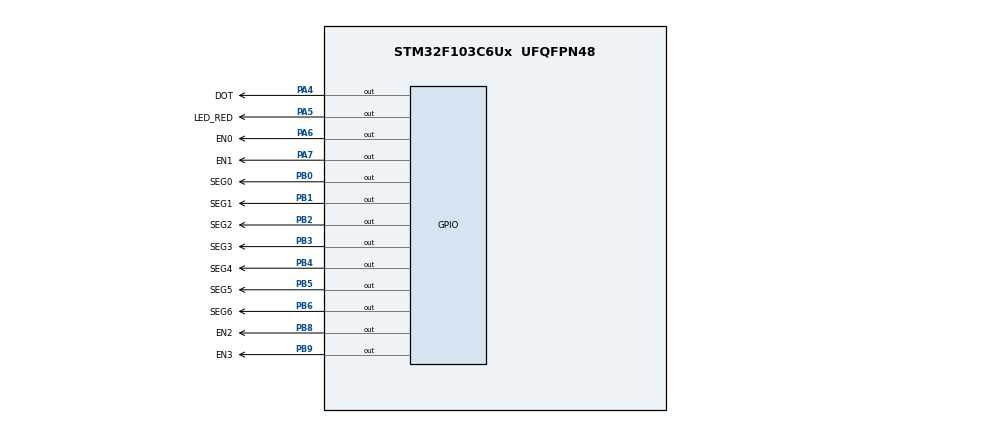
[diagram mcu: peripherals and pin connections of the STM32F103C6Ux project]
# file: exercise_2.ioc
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Mcu.Family=STM32F1
Mcu.Name=STM32F103C6Ux
Mcu.Package=UFQFPN48
NVIC.PriorityGroup=NVIC_PRIORITYGROUP_4
NVIC.TIM2_IRQn=true\:0\:0\:false\:false\:true\:true\:true
PA4.GPIO_Label=DOT
PA4.Signal=GPIO_Output
PA5.GPIO_Label=LED_RED
PA5.Signal=GPIO_Output
PA6.GPIO_Label=EN0
PA6.Signal=GPIO_Output
PA7.GPIO_Label=EN1
PA7.Signal=GPIO_Output
PB0.GPIO_Label=SEG0
PB0.Signal=GPIO_Output
PB1.GPIO_Label=SEG1
PB1.Signal=GPIO_Output
PB2.GPIO_Label=SEG2
PB2.Signal=GPIO_Output
PB3.GPIO_Label=SEG3
PB3.Signal=GPIO_Output
PB4.GPIO_Label=SEG4
PB4.Signal=GPIO_Output
PB5.GPIO_Label=SEG5
PB5.Signal=GPIO_Output
PB6.GPIO_Label=SEG6
PB6.Signal=GPIO_Output
PB8.GPIO_Label=EN2
PB8.Signal=GPIO_Output
PB9.GPIO_Label=EN3
PB9.Signal=GPIO_Output
ProjectManager.HeapSize=0x200
ProjectManager.StackSize=0x400
ProjectManager.TargetToolchain=STM32CubeIDE
RCC.APB1Freq_Value=8000000
RCC.APB2Freq_Value=8000000
TIM2.Period=9
TIM2.Prescaler=7999
VP_SYS_VS_ND.Mode=No_Debug
VP_TIM2_VS_ClockSourceINT.Mode=Internal
board=custom

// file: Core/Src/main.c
/* USER CODE BEGIN Header */
/**
  ******************************************************************************
  * @file           : main.c
  * @brief          : Main program body
  ******************************************************************************
  * @attention
  *
  * <h2><center>&copy; Copyright (c) 2025 STMicroelectronics.
  * All rights reserved.</center></h2>
  *
  * This software component is licensed by ST under BSD 3-Clause license,
  * the "License"; You may not use this file except in compliance with the
  * License. You may obtain a copy of the License at:
  *                        opensource.org/licenses/BSD-3-Clause
  *
  ******************************************************************************
  */
/* USER CODE END Header */
#include "main.h"

/* USER CODE BEGIN Includes */
#include "software_timer.h"
/* USER CODE END Includes */

TIM_HandleTypeDef htim2;

/* USER CODE BEGIN PV */
uint8_t led7seg_num_display[] = {
		/*0*/ 0x40,/*0b1000000*/
		/*1*/ 0x79,/*0b11111001*/
		/*2*/ 0x24,/*0b0100100*/
		/*3*/ 0x30,/*0b0110000*/
		/*4*/ 0x19,/*0b0011001*/
		/*5*/ 0x12,/*0b0010010*/
		/*6*/ 0x02,/*0b0000010*/
		/*7*/ 0x78,/*0b1111000*/
		/*8*/ 0x00,/*0b0000000*/
		/*9*/ 0x10/*0b0010000*/
};
int led_enable = 0;
/* USER CODE END PV */

void SystemClock_Config(void);
static void MX_TIM2_Init(void);
static void MX_GPIO_Init(void);
void display7SEG(uint8_t num);

int main(void)
{

  /* MCU Configuration--------------------------------------------------------*/

  /* Reset of all peripherals, Initializes the Flash interface and the Systick. */
  HAL_Init();

  /* Configure the system clock */
  SystemClock_Config();

  /* Initialize all configured peripherals */
  MX_TIM2_Init();
  MX_GPIO_Init();
  /* USER CODE BEGIN 2 */
  HAL_TIM_Base_Start_IT(&htim2);
  /* USER CODE END 2 */

  /* Infinite loop */
  /* USER CODE BEGIN WHILE */
  setTimer(0, 100); //LED_RED
  setTimer(1, 50); //7_SEG
  setTimer(2, 100); //2 LED
  while (1)
  {
	  if (isExpired(0) == 1){
		  setTimer(0, 100);
		  HAL_GPIO_TogglePin(LED_RED_GPIO_Port,LED_RED_Pin);
	  }
	  if (isExpired(1) == 1){
		  setTimer(1,  50);
		  led_enable = (led_enable + 1) % 4;
	  }
	  if (isExpired(2) == 1){
		  setTimer(2, 100);
		  HAL_GPIO_TogglePin(DOT_GPIO_Port,DOT_Pin);
	  }
	  if (led_enable == 0){
		  display7SEG(1);
		  HAL_GPIO_WritePin(EN0_GPIO_Port, EN0_Pin, GPIO_PIN_RESET);
		  HAL_GPIO_WritePin(EN1_GPIO_Port, EN1_Pin, GPIO_PIN_SET);
		  HAL_GPIO_WritePin(EN2_GPIO_Port, EN2_Pin, GPIO_PIN_SET);
		  HAL_GPIO_WritePin(EN3_GPIO_Port, EN3_Pin, GPIO_PIN_SET);
	  }else if (led_enable == 1){
		  display7SEG(2);
		  HAL_GPIO_WritePin(EN0_GPIO_Port, EN0_Pin, GPIO_PIN_SET);
		  HAL_GPIO_WritePin(EN1_GPIO_Port, EN1_Pin, GPIO_PIN_RESET);
		  HAL_GPIO_WritePin(EN2_GPIO_Port, EN2_Pin, GPIO_PIN_SET);
		  HAL_GPIO_WritePin(EN3_GPIO_Port, EN3_Pin, GPIO_PIN_SET);
	  }else if (led_enable == 2){
		  display7SEG(3);
		  HAL_GPIO_WritePin(EN0_GPIO_Port, EN0_Pin, GPIO_PIN_SET);
		  HAL_GPIO_WritePin(EN1_GPIO_Port, EN1_Pin, GPIO_PIN_SET);
		  HAL_GPIO_WritePin(EN2_GPIO_Port, EN2_Pin, GPIO_PIN_RESET);
		  HAL_GPIO_WritePin(EN3_GPIO_Port, EN3_Pin, GPIO_PIN_SET);
	  }else{
		  display7SEG(0);
		  HAL_GPIO_WritePin(EN0_GPIO_Port, EN0_Pin, GPIO_PIN_SET);
		  HAL_GPIO_WritePin(EN1_GPIO_Port, EN1_Pin, GPIO_PIN_SET);
		  HAL_GPIO_WritePin(EN2_GPIO_Port, EN2_Pin, GPIO_PIN_SET);
		  HAL_GPIO_WritePin(EN3_GPIO_Port, EN3_Pin, GPIO_PIN_RESET);
	  }
    /* USER CODE END WHILE */

  }
}

void SystemClock_Config(void)
{
  RCC_OscInitTypeDef RCC_OscInitStruct = {0};
  RCC_ClkInitTypeDef RCC_ClkInitStruct = {0};

  /** Initializes the RCC Oscillators according to the specified parameters
  * in the RCC_OscInitTypeDef structure.
  */
  RCC_OscInitStruct.OscillatorType = RCC_OSCILLATORTYPE_HSI;
  RCC_OscInitStruct.HSIState = RCC_HSI_ON;
  RCC_OscInitStruct.HSICalibrationValue = RCC_HSICALIBRATION_DEFAULT;
  RCC_OscInitStruct.PLL.PLLState = RCC_PLL_NONE;
  if (HAL_RCC_OscConfig(&RCC_OscInitStruct) != HAL_OK)
  {
    Error_Handler();
  }
  /** Initializes the CPU, AHB and APB buses clocks
  */
  RCC_ClkInitStruct.ClockType = RCC_CLOCKTYPE_HCLK|RCC_CLOCKTYPE_SYSCLK
                              |RCC_CLOCKTYPE_PCLK1|RCC_CLOCKTYPE_PCLK2;
  RCC_ClkInitStruct.SYSCLKSource = RCC_SYSCLKSOURCE_HSI;
  RCC_ClkInitStruct.AHBCLKDivider = RCC_SYSCLK_DIV1;
  RCC_ClkInitStruct.APB1CLKDivider = RCC_HCLK_DIV1;
  RCC_ClkInitStruct.APB2CLKDivider = RCC_HCLK_DIV1;

  if (HAL_RCC_ClockConfig(&RCC_ClkInitStruct, FLASH_LATENCY_0) != HAL_OK)
  {
    Error_Handler();
  }
}

static void MX_TIM2_Init(void)
{

  TIM_ClockConfigTypeDef sClockSourceConfig = {0};
  TIM_MasterConfigTypeDef sMasterConfig = {0};

  htim2.Instance = TIM2;
  htim2.Init.Prescaler = 7999;
  htim2.Init.CounterMode = TIM_COUNTERMODE_UP;
  htim2.Init.Period = 9;
  htim2.Init.ClockDivision = TIM_CLOCKDIVISION_DIV1;
  htim2.Init.AutoReloadPreload = TIM_AUTORELOAD_PRELOAD_DISABLE;
  if (HAL_TIM_Base_Init(&htim2) != HAL_OK)
  {
    Error_Handler();
  }
  sClockSourceConfig.ClockSource = TIM_CLOCKSOURCE_INTERNAL;
  if (HAL_TIM_ConfigClockSource(&htim2, &sClockSourceConfig) != HAL_OK)
  {
    Error_Handler();
  }
  sMasterConfig.MasterOutputTrigger = TIM_TRGO_RESET;
  sMasterConfig.MasterSlaveMode = TIM_MASTERSLAVEMODE_DISABLE;
  if (HAL_TIMEx_MasterConfigSynchronization(&htim2, &sMasterConfig) != HAL_OK)
  {
    Error_Handler();
  }

}

static void MX_GPIO_Init(void)
{
  GPIO_InitTypeDef GPIO_InitStruct = {0};

  /* GPIO Ports Clock Enable */
  __HAL_RCC_GPIOA_CLK_ENABLE();
  __HAL_RCC_GPIOB_CLK_ENABLE();

  /*Configure GPIO pin Output Level */
  HAL_GPIO_WritePin(GPIOA, DOT_Pin|LED_RED_Pin|EN0_Pin|EN1_Pin, GPIO_PIN_RESET);

  /*Configure GPIO pin Output Level */
  HAL_GPIO_WritePin(GPIOB, SEG0_Pin|SEG1_Pin|SEG2_Pin|SEG3_Pin
                          |SEG4_Pin|SEG5_Pin|SEG6_Pin|EN2_Pin
                          |EN3_Pin, GPIO_PIN_RESET);

  /*Configure GPIO pins : DOT_Pin LED_RED_Pin EN0_Pin EN1_Pin */
  GPIO_InitStruct.Pin = DOT_Pin|LED_RED_Pin|EN0_Pin|EN1_Pin;
  GPIO_InitStruct.Mode = GPIO_MODE_OUTPUT_PP;
  GPIO_InitStruct.Pull = GPIO_NOPULL;
  GPIO_InitStruct.Speed = GPIO_SPEED_FREQ_LOW;
  HAL_GPIO_Init(GPIOA, &GPIO_InitStruct);

  /*Configure GPIO pins : SEG0_Pin SEG1_Pin SEG2_Pin SEG3_Pin
                           SEG4_Pin SEG5_Pin SEG6_Pin EN2_Pin
                           EN3_Pin */
  GPIO_InitStruct.Pin = SEG0_Pin|SEG1_Pin|SEG2_Pin|SEG3_Pin
                          |SEG4_Pin|SEG5_Pin|SEG6_Pin|EN2_Pin
                          |EN3_Pin;
  GPIO_InitStruct.Mode = GPIO_MODE_OUTPUT_PP;
  GPIO_InitStruct.Pull = GPIO_NOPULL;
  GPIO_InitStruct.Speed = GPIO_SPEED_FREQ_LOW;
  HAL_GPIO_Init(GPIOB, &GPIO_InitStruct);

}

/* USER CODE BEGIN 4 */
void HAL_TIM_PeriodElapsedCallback(TIM_HandleTypeDef *htim){
	timerRun();
}

void display7SEG(uint8_t num){
	HAL_GPIO_WritePin(SEG0_GPIO_Port, SEG0_Pin, !((~led7seg_num_display[num]) & (1 << 0)));
	HAL_GPIO_WritePin(SEG1_GPIO_Port, SEG1_Pin, !((~led7seg_num_display[num]) & (1 << 1)));
	HAL_GPIO_WritePin(SEG2_GPIO_Port, SEG2_Pin, !((~led7seg_num_display[num]) & (1 << 2)));
	HAL_GPIO_WritePin(SEG3_GPIO_Port, SEG3_Pin, !((~led7seg_num_display[num]) & (1 << 3)));
	HAL_GPIO_WritePin(SEG4_GPIO_Port, SEG4_Pin, !((~led7seg_num_display[num]) & (1 << 4)));
	HAL_GPIO_WritePin(SEG5_GPIO_Port, SEG5_Pin, !((~led7seg_num_display[num]) & (1 << 5)));
	HAL_GPIO_WritePin(SEG6_GPIO_Port, SEG6_Pin, !((~led7seg_num_display[num]) & (1 << 6)));
}
/* USER CODE END 4 */

void Error_Handler(void)
{
  __disable_irq();
  while (1)
  {
  }
}

/************************ (C) COPYRIGHT STMicroelectronics *****END OF FILE****/
